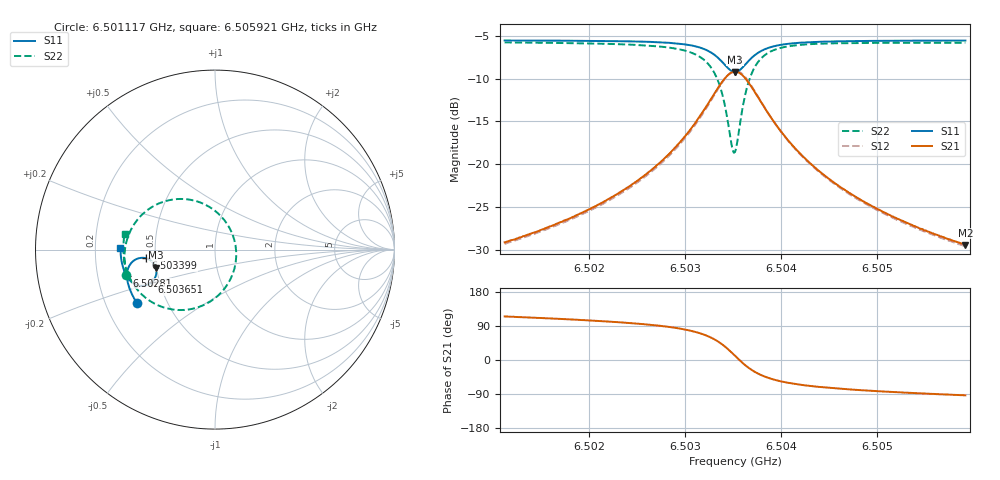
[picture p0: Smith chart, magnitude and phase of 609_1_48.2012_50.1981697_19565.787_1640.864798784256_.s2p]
#  HZ  S  RI  R  50.00
! Rohde & Schwarz Vector Network Analyzer
! Rohde-Schwarz,ZNB20-2Port,1311601062101988,3.16
! Created: UTC 3/20/2024, 12:03:19 PM
! freq[Hz]  re:S11  im:S11  re:S21  im:S21  re:S12  im:S12  re:S22  im:S22
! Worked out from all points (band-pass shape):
!   401 points, 6.501117 GHz to 6.505921 GHz, reference 50 ohm
!   highest |S21| = -9.20 dB at 6.503519 GHz (marker M1); lowest = -29.4 dB at 6.505921 GHz (marker M2)
!   |S21| within 3 dB of the highest: 6.503279 GHz to 6.50376 GHz (481 kHz wide, 0.0074 % of centre)
!   lowest |S11| = -9.2 dB at 6.503519 GHz (marker M3), VSWR 2.05, Z = 24.8 - j5.68 ohm
!   |S11| at or under -10 dB: nowhere
!   |S22| runs from -18.6 to -5.8 dB; largest |S21 - S12| = 0.012
!   S11 on the Smith chart (normalised r, x): 6.501117 GHz: 0.34, -0.28; 6.50281 GHz: 0.33, -0.13; 6.503399 GHz: 0.44, -0.05; 6.503651 GHz: 0.45, -0.19; 6.505921 GHz: 0.31, +0.01
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6.5011168e9  -0.434 -0.2991  -0.0148 0.0318  -0.013 0.0319  -0.4938 -0.1407
6.5019215e9  -0.4676 -0.2382  -0.014 0.0503  -0.0115 0.0499  -0.5045 -0.0527
6.5023539e9  -0.4821 -0.1988  -0.0108 0.0698  -0.00774 0.0687  -0.5 0.0112
6.5027263e9  -0.4903 -0.1562  -0.000923 0.101  0.00271 0.0987  -0.4781 0.0891
6.5028103e9  -0.4907 -0.1444  0.00395 0.1118  0.00778 0.109  -0.4673 0.1123
6.5030145e9  -0.4859 -0.1104  0.0272 0.1469  0.0309 0.1426  -0.4194 0.1816
6.5031587e9  -0.4713 -0.0803  0.0654 0.1812  0.0682 0.1754  -0.345 0.2408
6.5033028e9  -0.4324 -0.0505  0.149 0.2103  0.1496 0.2043  -0.193 0.2822
6.5033508e9  -0.4105 -0.0458  0.1924 0.2089  0.1925 0.2034  -0.1169 0.2733
6.5033989e9  -0.3847 -0.048  0.2422 0.1933  0.2425 0.1888  -0.0314 0.238
6.503483e9  -0.3409 -0.0783  0.3223 0.117  0.3251 0.1128  0.0964 0.0875
6.503519e9  -0.3297 -0.101  0.3402 0.0669  0.3444 0.0616  0.1177 -0.00625
6.503543e9  -0.3266 -0.1177  0.3437 0.0313  0.3484 0.0248  0.1153 -0.0713
6.503579e9  -0.3288 -0.1424  0.3361 -0.0199  0.3402 -0.0289  0.0872 -0.1625
6.5036511e9  -0.3516 -0.1806  0.2882 -0.0981  0.2886 -0.1098  -0.0258 -0.2888
6.5037472e9  -0.3935 -0.2008  0.208 -0.1422  0.2032 -0.1528  -0.1892 -0.3368
6.5039033e9  -0.4439 -0.1933  0.1178 -0.1413  0.1105 -0.1472  -0.3531 -0.2918
6.5040835e9  -0.475 -0.1706  0.0664 -0.1184  0.0601 -0.1208  -0.4363 -0.2188
6.5043237e9  -0.4962 -0.1408  0.0352 -0.0924  0.0304 -0.093  -0.4811 -0.1443
6.50466e9  -0.5112 -0.1044  0.0163 -0.0692  0.0128 -0.0689  -0.5035 -0.0722
6.5051285e9  -0.5214 -0.0601  0.00539 -0.0504  0.00293 -0.0498  -0.511 -0.00226
6.5059212e9  -0.5267 0.00778  -0.00196 -0.0338  -0.00337 -0.0332  -0.5041 0.0843
